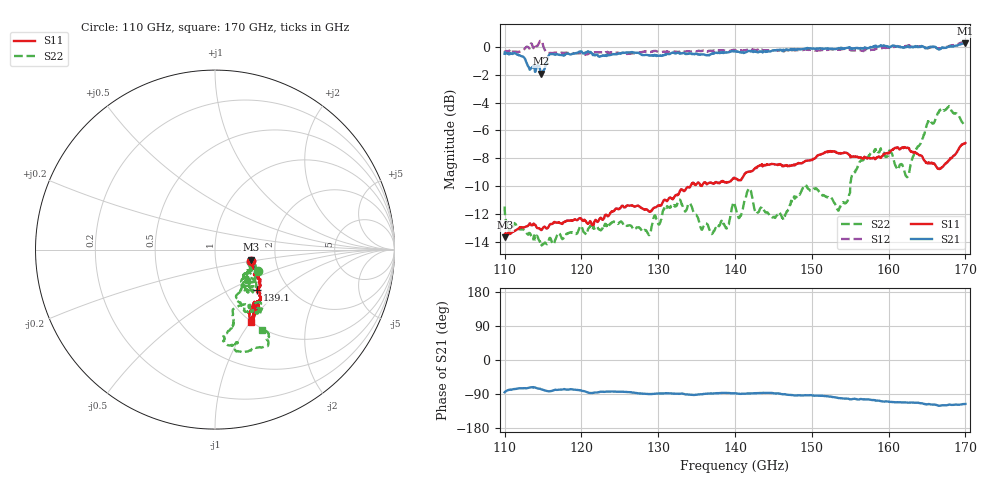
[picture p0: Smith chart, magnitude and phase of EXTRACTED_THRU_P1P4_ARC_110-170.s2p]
! Generated by Phase I extraction
# Hz S RI R 50
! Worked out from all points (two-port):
!   1471 points, 110 GHz to 170 GHz, reference 50 ohm
!   highest |S21| = 0.25 dB at 169.9 GHz (marker M1); lowest = -1.9 dB at 114.7 GHz (marker M2)
!   |S21| within 3 dB of the highest: start of sweep to end of sweep
!   lowest |S11| = -13.7 dB at 110 GHz (marker M3), VSWR 1.52, Z = 74.3 - j8.57 ohm
!   |S11| at or under -10 dB: start of sweep to 134.2 GHz
!   |S22| runs from -14.3 to -4.3 dB; largest |S21 - S12| = 0.36
!   S11 on the Smith chart (normalised r, x): 110 GHz: 1.49, -0.20; 139.1 GHz: 1.41, -0.71; 170 GHz: 0.99, -1.00
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1.1e11  0.2016 -0.0645  0.0796 -0.9405  0.3299 -0.8959  0.2386 -0.1205
1.100408e11  0.1996 -0.0552  0.0942 -0.9498  0.3381 -0.9014  0.2264 -0.112
1.119592e11  0.2183 -0.0547  0.2456 -0.8998  0.247 -0.9286  0.2147 -0.0626
1.147347e11  0.2073 -0.0738  0.1769 -0.782  0.2442 -1.024  0.1849 -0.0537
1.159592e11  0.2138 -0.0877  0.1257 -0.9331  0.2114 -0.9267  0.1918 -0.0751
1.2e11  0.2188 -0.1019  0.1539 -0.9491  0.1583 -0.9354  0.2009 -0.1068
1.211837e11  0.2122 -0.1043  0.0497 -0.957  0.172 -0.935  0.1868 -0.1317
1.3e11  0.2308 -0.1393  0.0277 -0.9271  0.0554 -0.9578  0.1751 -0.1512
1.327755e11  0.2505 -0.1668  0.0105 -0.9496  0.0361 -0.9592  0.2207 -0.1765
1.391429e11  0.2362 -0.2257  0.0474 -0.9553  -0.0748 -0.9645  0.1462 -0.1778
1.4e11  0.2408 -0.236  0.0358 -0.9616  -0.0632 -0.9714  0.1923 -0.1885
1.418367e11  0.2483 -0.2562  0.0328 -0.9655  -0.0832 -0.9765  0.2233 -0.216
1.463265e11  0.2336 -0.2903  -0.0103 -0.9726  -0.1242 -0.9557  0.1578 -0.1801
1.5e11  0.2412 -0.3102  -0.0521 -0.9835  -0.1427 -0.9623  0.2035 -0.2259
1.535102e11  0.2248 -0.3489  -0.1819 -0.9725  -0.1161 -0.97  0.148 -0.2126
1.564082e11  0.2419 -0.3182  -0.2208 -0.9635  -0.1327 -0.9608  0.1803 -0.3474
1.6e11  0.2196 -0.3524  -0.3426 -0.9381  -0.0981 -0.9871  0.2547 -0.3281
1.624082e11  0.2034 -0.3838  -0.3832 -0.9257  -0.1212 -0.9985  0.1326 -0.3134
1.647755e11  0.2227 -0.3177  -0.4366 -0.8864  -0.1574 -0.9752  0.0549 -0.4977
1.68e11  0.1961 -0.3448  -0.4656 -0.8886  -0.1598 -0.9955  0.2972 -0.5261
1.699184e11  0.1965 -0.4049  -0.451 -0.9246  -0.1641 -1.028  0.2664 -0.4486
1.7e11  0.1981 -0.4056  -0.4502 -0.9239  -0.1623 -1.029  0.262 -0.4456
